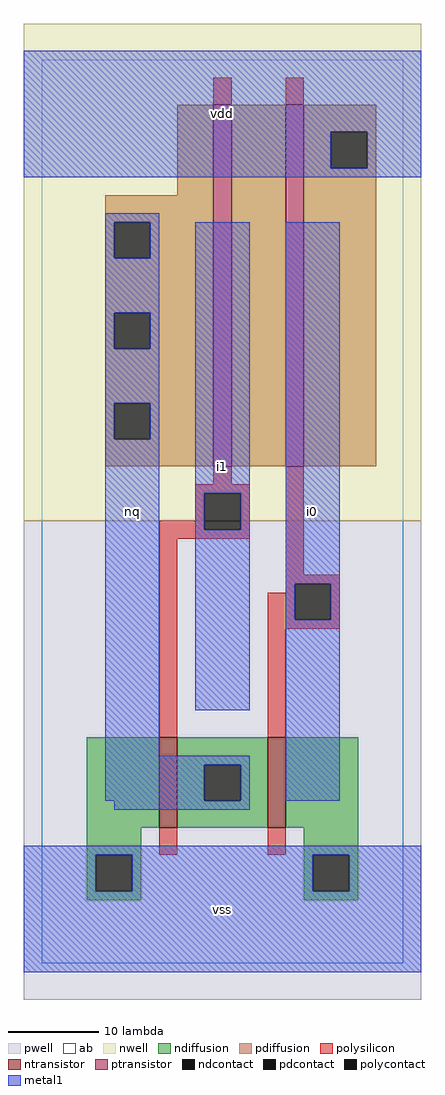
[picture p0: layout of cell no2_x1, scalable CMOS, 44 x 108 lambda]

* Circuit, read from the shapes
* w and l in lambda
.subckt no2_x1 i0 i1 nq vdd vss
M1 nq i1 vss VSUBS nfet w=10 l=2
M2 vss i0 nq VSUBS nfet w=10 l=2
M3 n1 i1 nq n2 pfet w=40 l=2
M4 vdd i0 n1 n2 pfet w=40 l=2
.ends

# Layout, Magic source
magic
tech scmos
<< ab >>
rect 0 0 40 100
<< pwell >>
rect -2 -4 42 49
<< nwell >>
rect -2 49 42 104
<< polysilicon >>
rect 19 95 21 98
rect 27 95 29 98
rect 19 53 21 55
rect 17 52 23 53
rect 17 49 18 52
rect 13 48 18 49
rect 22 48 23 52
rect 13 47 23 48
rect 13 25 15 47
rect 27 43 29 55
rect 27 42 33 43
rect 27 41 28 42
rect 25 38 28 41
rect 32 38 33 42
rect 25 37 33 38
rect 25 25 27 37
rect 13 12 15 15
rect 25 12 27 15
<< ndiffusion >>
rect 5 15 13 25
rect 15 22 25 25
rect 15 18 18 22
rect 22 18 25 22
rect 15 15 25 18
rect 27 15 35 25
rect 5 12 11 15
rect 29 12 35 15
rect 5 8 6 12
rect 10 8 11 12
rect 5 7 11 8
rect 29 8 30 12
rect 34 8 35 12
rect 29 7 35 8
<< pdiffusion >>
rect 15 85 19 95
rect 7 82 19 85
rect 7 78 8 82
rect 12 78 19 82
rect 7 72 19 78
rect 7 68 8 72
rect 12 68 19 72
rect 7 62 19 68
rect 7 58 8 62
rect 12 58 19 62
rect 7 55 19 58
rect 21 55 27 95
rect 29 92 37 95
rect 29 88 32 92
rect 36 88 37 92
rect 29 55 37 88
<< metal1 >>
rect -2 92 42 101
rect -2 88 32 92
rect 36 88 42 92
rect -2 87 42 88
rect 7 82 13 83
rect 7 78 8 82
rect 12 78 13 82
rect 7 72 13 78
rect 7 68 8 72
rect 12 68 13 72
rect 7 62 13 68
rect 7 58 8 62
rect 12 58 13 62
rect 7 23 13 58
rect 17 52 23 82
rect 17 48 18 52
rect 22 48 23 52
rect 17 28 23 48
rect 27 42 33 82
rect 27 38 28 42
rect 32 38 33 42
rect 7 22 23 23
rect 7 18 18 22
rect 22 18 23 22
rect 27 18 33 38
rect 8 17 23 18
rect -2 12 42 13
rect -2 8 6 12
rect 10 8 30 12
rect 34 8 42 12
rect -2 -1 42 8
<< ntransistor >>
rect 13 15 15 25
rect 25 15 27 25
<< ptransistor >>
rect 19 55 21 95
rect 27 55 29 95
<< polycontact >>
rect 18 48 22 52
rect 28 38 32 42
<< ndcontact >>
rect 18 18 22 22
rect 6 8 10 12
rect 30 8 34 12
<< pdcontact >>
rect 8 78 12 82
rect 8 68 12 72
rect 8 58 12 62
rect 32 88 36 92
<< labels >>
rlabel metal1 10 50 10 50 6 nq
rlabel metal1 10 50 10 50 6 nq
rlabel metal1 20 6 20 6 6 vss
rlabel metal1 20 6 20 6 6 vss
rlabel metal1 30 50 30 50 6 i0
rlabel metal1 30 50 30 50 6 i0
rlabel metal1 20 55 20 55 6 i1
rlabel metal1 20 55 20 55 6 i1
rlabel metal1 20 94 20 94 6 vdd
rlabel metal1 20 94 20 94 6 vdd
<< end >>
